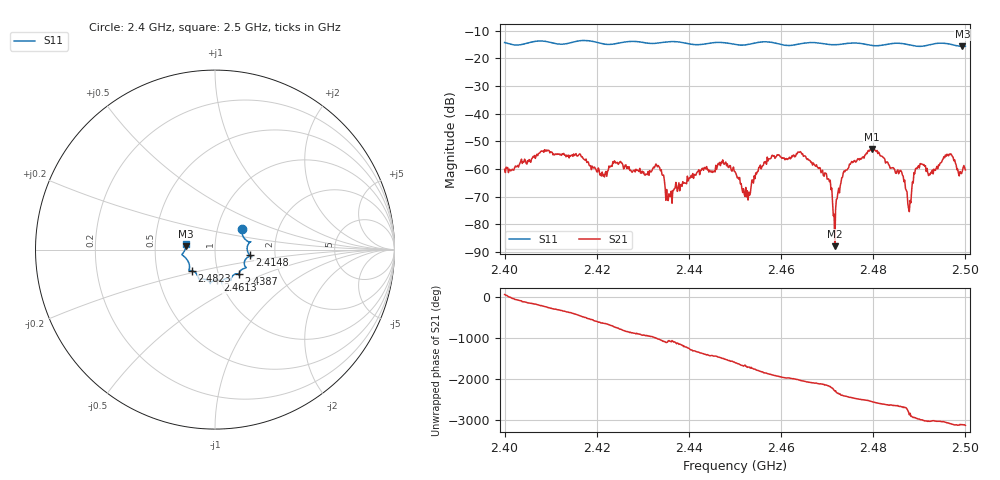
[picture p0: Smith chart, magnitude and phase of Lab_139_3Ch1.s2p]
# Hz S RI R
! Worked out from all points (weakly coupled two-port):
!   601 points, 2.4 GHz to 2.5 GHz, reference 50 ohm
!   highest |S21| = -52.83 dB at 2.4797 GHz (marker M1); lowest = -87.9 dB at 2.4717 GHz (marker M2)
!   lowest |S11| = -15.8 dB at 2.4993 GHz (marker M3), VSWR 1.39, Z = 36 + j1.3 ohm
!   |S11| at or under -10 dB: start of sweep to end of sweep
!   S12 and S22 are empty: the file has one direction only
!   S11 on the Smith chart (normalised r, x): 2.4 GHz: 1.31, +0.32; 2.4148 GHz: 1.47, -0.10; 2.4387 GHz: 1.25, -0.36; 2.4613 GHz: 0.97, -0.34; 2.4823 GHz: 0.75, -0.18; 2.5 GHz: 0.72, +0.04
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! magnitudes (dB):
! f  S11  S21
! 2.4 GHz  -14.4  -60.1
! 2.4148 GHz  -14.2  -55.5
! 2.4167 GHz  -13.6  -55.6
! 2.4212 GHz  -14.7  -61.1
! 2.4333 GHz  -14.5  -58.8
! 2.4355 GHz  -14.1  -71.4
! 2.4387 GHz  -14.4  -64.6
! 2.45 GHz  -15.0  -61.0
! 2.4527 GHz  -15.1  -67.9
! 2.4575 GHz  -14.2  -56.4
! 2.4613 GHz  -15.4  -56.6
! 2.4667 GHz  -14.3  -57.6
! 2.4702 GHz  -15.0  -63.6
! 2.4717 GHz  -15.2  -87.9
! 2.4737 GHz  -14.8  -60.8
! 2.4797 GHz  -15.4  -52.8
! 2.4823 GHz  -15.2  -56.1
! 2.4833 GHz  -14.9  -58.4
! 2.4878 GHz  -15.2  -75.5
! 2.4902 GHz  -15.7  -58.1
! 2.4993 GHz  -15.8  -60.8
! 2.5 GHz  -15.7  -60.4
